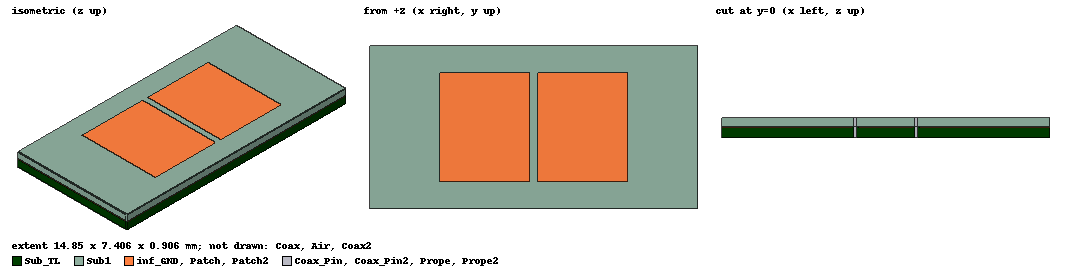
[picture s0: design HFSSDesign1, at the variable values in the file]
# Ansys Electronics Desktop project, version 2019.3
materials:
  vacuum: permittivity=1
  Rogers RT/duroid 5880 (tm): permittivity=2.2 dielectric_loss_tangent=0.0009
  pec: conductivity=1e+30
  Rogers RO4003 (tm): permittivity=3.55 dielectric_loss_tangent=0.0027

design HFSSDesign1 (HFSS, DrivenModal, model units mm)
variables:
  Lp = 4.1mm  # optimise 1.961496581mm..5.884489743mm
  Wp = 4.97mm  # optimise 2.538622579mm..7.615867737mm
  hs = 0.406mm
  Ws = Wp+6*hs
  Ls = 6*hs+Lp*2+4.21mm
  xsub = -Ls/2
  ysub = -Ws/2
  xfeed = 1.2mm  # optimise 0.4620027115mm..1.3860081345mm
  dp = 0.343834434mm  # optimise 0.19101913mm..0.57305739mm
  rcoax = 0.16mm
  hcoax = 0.5mm
  rprope = 0.07mm
  Lair = 0.01+Ls
  Wair = 0.01+Ws
  xair = Lair/2
  yair = Wair/2
  hair = 5mm
  yfeed = 0mm
  xp = dp/2
  yp = -Wp/2
  Wp2 = 12*hs+4.7*2
  hgnd = -0.032mm
  X_TL_1 = 2.288307mm
  Y_TL_1 = 0.276146mm
  Y_TL_vertical = 3.105225mm
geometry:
  Sub1 [Rogers RO4003 (tm)] = box(corner=(xsub, ysub, 0mm), size=(Ls, Ws, hs))
  Patch [Rogers RT/duroid 5880 (tm)] = rectangle(corner=(xp, yp, hs), x_size=Lp, y_size=Wp)
  Coax [vacuum] = cylinder(axis=Z, base_centre=(xp+xfeed, yfeed, 0mm), radius=rcoax, height=-hcoax)
  Coax_Pin [pec] = cylinder(axis=Z, base_centre=(xp+xfeed, yfeed, 0mm), radius=rprope, height=-hcoax)
  Prope [pec] = cylinder(axis=Z, base_centre=(xp+xfeed, yfeed, 0mm), radius=rprope, height=hs)
  Air [vacuum] = box(corner=(-xair, -yair, 0), size=(Lair, Wair, hair))
  Patch2 = rectangle(corner=(xp-Lp-dp, yp, hs), x_size=Lp, y_size=Wp)
  Coax2 [vacuum] = cylinder(axis=Z, base_centre=(-(xp+xfeed), yfeed, 0mm), radius=rcoax, height=-hcoax)
  Coax_Pin2 [pec] = cylinder(axis=Z, base_centre=(-(xp+xfeed), yfeed, 0mm), radius=rprope, height=-hcoax)
  Prope2 [pec] = cylinder(axis=Z, base_centre=(-(xp+xfeed), yfeed, 0mm), radius=rprope, height=hs)
  inf_GND [pec] = box(corner=(xsub, ysub, 0mm), size=(Ls, Ws, hgnd))
  Cylinder_cut_2 = cylinder(axis=Z, base_centre=(-(xp+xfeed), yfeed, 0), radius=rcoax, height=hgnd)
  Cylinder_cut_1 = cylinder(axis=Z, base_centre=(xp+xfeed, yfeed, 0), radius=rcoax, height=hgnd)
  inf_GND.subtract(Cylinder_cut_1)
  inf_GND.subtract(Cylinder_cut_2)
  Sub_TL [Rogers RO4003 (tm)] = box(corner=(xsub, ysub, 0mm), size=(Ls, Ws, -hcoax))
  Circle1 = circle(normal=Z, centre=(-(xp+xfeed), 0mm, -hcoax), radius=0.14mm)
  Circle2 = circle(normal=Z, centre=(xfeed+xp, 0mm, -hcoax), radius=0.14422205mm)
  group Input_feed1 = Coax, Coax_Pin, Prope
  group Input_feed2 = Coax2, Coax_Pin2, Prope2
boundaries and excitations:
  PerfE_Patch: Perfect E Objects=Patch
  Rad1: Radiation Faces=Air.face(+x, +y, -y, -x, +z)
  PerfE1: Perfect E Objects=Patch2
  1: Wave Port Objects=Circle1 NumModes=1 Modes{Mode1{CharImp=Zpi}}
  2: Wave Port Objects=Circle2 NumModes=1 Modes{Mode1{CharImp=Zpi}}
  reference conductors: inf_GND
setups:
  Setup1: HfssDriven Frequency=20GHz MaxDeltaS=0.02 MaximumPasses=18 MinimumPasses=1 MinimumConvergedPasses=1 PercentRefinement=30 BasisOrder=1 PortAccuracy=2
    sweep Sweep: 18GHz to 25GHz step 0.1GHz; Type=Fast SaveFields SaveRadFields GenerateFieldsForAllFreqs
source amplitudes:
  1:1: 1W 0deg
  2:1: 0W 0deg
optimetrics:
  OptimizationSetup1: Optimization Optimizer="Quasi Newton" AnalysisStopOptions{StopForNumIteration MaxNumIteration=1000 MinNumIteration=10} CostFuncNormType=L2 Acceptable_Cost=0 Noise=0.0001 UpdateDesignWhenDone
    vary Lp: Min=1.961496581mm Max=5.884489743mm MinStep=0.039229932mm MaxStep=0.39229932mm MinFocus=1.961496581mm MaxFocus=5.884489743mm start=4mm
    vary xfeed: Min=0.46200271mm Max=1.3860081mm MinStep=0.0092400542mm MaxStep=0.092400542mm MinFocus=0.46200271mm MaxFocus=1.3860081mm start=0.915806943mm
    goal dB(S(1,1)) <= -15 weight 5 on Setup1 : Sweep at Freq 20GHz
    goal mag(Z(1,1)) >= 20 weight 1 on Setup1 : Sweep at Freq 20GHz
    goal mag(Z(1,1)) >= 50 weight 1 on Setup1 : Sweep at Freq 20GHz
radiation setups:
  e_plane: Infinite Sphere Theta=-180deg..180deg step 2deg Phi=0deg..0deg step 1deg
  h_plane: Infinite Sphere Theta=-180deg..180deg step 2deg Phi=90deg..90deg step 1deg
  3d: Infinite Sphere Theta=-180deg..180deg step 2deg Phi=0deg..360deg step 2deg
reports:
  Eradation_pattern: abs(rETotal) vs Theta on Setup1 : LastAdaptive, e_plane [Phi=all Freq=20GHz]
  Hradation_pattern: abs(rETotal) vs Theta on Setup1 : LastAdaptive, h_plane [Phi=all Freq=20GHz]
  Co_X_graph: dB10normalize(GainPhi), dB10normalize(GainTheta) vs Theta on Setup1 : LastAdaptive, e_plane [Phi=0deg Freq=20GHz]
  Gain Plot 1: GainTotal vs Theta on Setup1 : LastAdaptive, e_plane [Phi=all Freq=20GHz dp=all]
  Port Zo Plot 1: mag(Zo(1)) vs Freq on Setup1 : Sweep; markers MX1 at x=2.0233247e+10
  VSWR Plot 1: VSWR(1) vs Freq on Setup1 : Sweep; markers m1 at 20GHz
  Gain Plot 2: mag(GainTotal) vs Phi, Theta on Setup1 : LastAdaptive, 3d [Freq=20GHz]
  S Parameter Plot 1: dB(S(1,1)) vs Freq on Setup1 : Sweep; markers m1 at 20GHz, MY1 at y=-10.0079
  Z Parameter Plot 1: mag(Z(1,1)) vs Freq on Setup1 : Sweep; markers MX1 at x=2.0003421e+10
